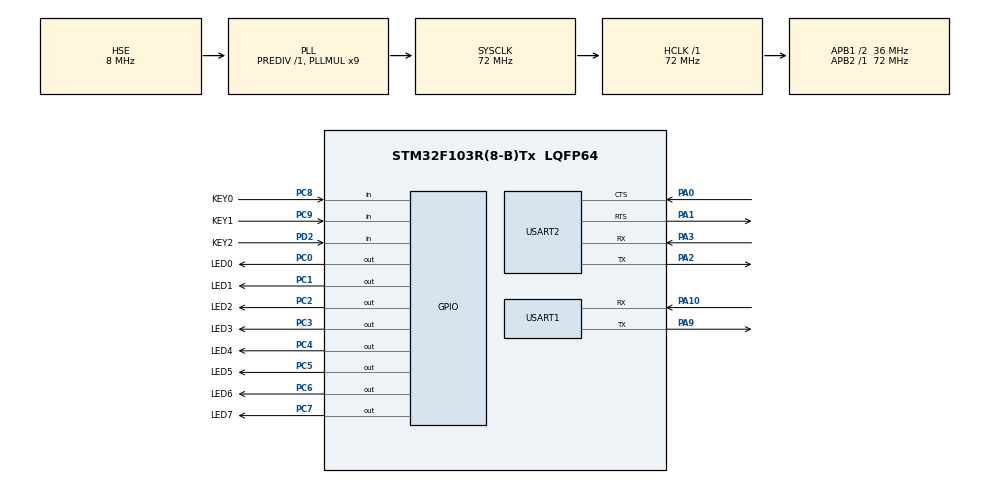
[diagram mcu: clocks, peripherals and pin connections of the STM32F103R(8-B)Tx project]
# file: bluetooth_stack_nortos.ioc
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Dma.Request0=USART2_RX
Dma.Request1=USART2_TX
Dma.USART2_RX.0.Direction=DMA_PERIPH_TO_MEMORY
Dma.USART2_RX.0.Instance=DMA1_Channel6
Dma.USART2_RX.0.MemDataAlignment=DMA_MDATAALIGN_BYTE
Dma.USART2_RX.0.MemInc=DMA_MINC_ENABLE
Dma.USART2_RX.0.Mode=DMA_NORMAL
Dma.USART2_RX.0.PeriphDataAlignment=DMA_PDATAALIGN_BYTE
Dma.USART2_RX.0.PeriphInc=DMA_PINC_DISABLE
Dma.USART2_RX.0.Priority=DMA_PRIORITY_LOW
Dma.USART2_TX.1.Direction=DMA_MEMORY_TO_PERIPH
Dma.USART2_TX.1.Instance=DMA1_Channel7
Dma.USART2_TX.1.MemDataAlignment=DMA_MDATAALIGN_BYTE
Dma.USART2_TX.1.MemInc=DMA_MINC_ENABLE
Dma.USART2_TX.1.Mode=DMA_NORMAL
Dma.USART2_TX.1.PeriphDataAlignment=DMA_PDATAALIGN_BYTE
Dma.USART2_TX.1.PeriphInc=DMA_PINC_DISABLE
Dma.USART2_TX.1.Priority=DMA_PRIORITY_LOW
Mcu.Family=STM32F1
Mcu.Name=STM32F103R(8-B)Tx
Mcu.Package=LQFP64
NVIC.DMA1_Channel6_IRQn=true\:0\:0\:false\:false\:true\:false\:true\:true
NVIC.DMA1_Channel7_IRQn=true\:0\:0\:false\:false\:true\:false\:true\:true
NVIC.PriorityGroup=NVIC_PRIORITYGROUP_4
NVIC.TIM4_IRQn=true\:0\:0\:false\:false\:true\:true\:true\:true
NVIC.USART2_IRQn=true\:0\:0\:false\:false\:true\:false\:true\:true
PA0-WKUP.Mode=CTS_RTS
PA0-WKUP.Signal=USART2_CTS
PA1.Mode=CTS_RTS
PA1.Signal=USART2_RTS
PA10.Mode=Asynchronous
PA10.Signal=USART1_RX
PA13.Mode=Serial_Wire
PA13.Signal=SYS_JTMS-SWDIO
PA14.Mode=Serial_Wire
PA14.Signal=SYS_JTCK-SWCLK
PA2.Mode=Asynchronous
PA2.Signal=USART2_TX
PA3.Mode=Asynchronous
PA3.Signal=USART2_RX
PA9.Mode=Asynchronous
PA9.Signal=USART1_TX
PC0.GPIO_Label=LED0
PC0.GPIO_ModeDefaultOutputPP=GPIO_MODE_OUTPUT_OD
PC0.GPIO_PuPd=GPIO_NOPULL
PC0.GPIO_Speed=GPIO_SPEED_FREQ_LOW
PC0.PinState=GPIO_PIN_SET
PC0.Signal=GPIO_Output
PC1.GPIO_Label=LED1
PC1.GPIO_ModeDefaultOutputPP=GPIO_MODE_OUTPUT_OD
PC1.GPIO_PuPd=GPIO_NOPULL
PC1.GPIO_Speed=GPIO_SPEED_FREQ_LOW
PC1.PinState=GPIO_PIN_SET
PC1.Signal=GPIO_Output
PC14-OSC32_IN.Mode=LSE-External-Oscillator
PC14-OSC32_IN.Signal=RCC_OSC32_IN
PC15-OSC32_OUT.Mode=LSE-External-Oscillator
PC15-OSC32_OUT.Signal=RCC_OSC32_OUT
PC2.GPIO_Label=LED2
PC2.GPIO_ModeDefaultOutputPP=GPIO_MODE_OUTPUT_OD
PC2.GPIO_PuPd=GPIO_NOPULL
PC2.GPIO_Speed=GPIO_SPEED_FREQ_LOW
PC2.PinState=GPIO_PIN_SET
PC2.Signal=GPIO_Output
PC3.GPIO_Label=LED3
PC3.GPIO_ModeDefaultOutputPP=GPIO_MODE_OUTPUT_OD
PC3.GPIO_PuPd=GPIO_NOPULL
PC3.GPIO_Speed=GPIO_SPEED_FREQ_LOW
PC3.PinState=GPIO_PIN_SET
PC3.Signal=GPIO_Output
PC4.GPIO_Label=LED4
PC4.GPIO_ModeDefaultOutputPP=GPIO_MODE_OUTPUT_OD
PC4.GPIO_PuPd=GPIO_NOPULL
PC4.GPIO_Speed=GPIO_SPEED_FREQ_LOW
PC4.PinState=GPIO_PIN_SET
PC4.Signal=GPIO_Output
PC5.GPIO_Label=LED5
PC5.GPIO_ModeDefaultOutputPP=GPIO_MODE_OUTPUT_OD
PC5.GPIO_PuPd=GPIO_NOPULL
PC5.GPIO_Speed=GPIO_SPEED_FREQ_LOW
PC5.PinState=GPIO_PIN_SET
PC5.Signal=GPIO_Output
PC6.GPIO_Label=LED6
PC6.GPIO_ModeDefaultOutputPP=GPIO_MODE_OUTPUT_OD
PC6.GPIO_PuPd=GPIO_NOPULL
PC6.GPIO_Speed=GPIO_SPEED_FREQ_LOW
PC6.PinState=GPIO_PIN_SET
PC6.Signal=GPIO_Output
PC7.GPIO_Label=LED7
PC7.GPIO_ModeDefaultOutputPP=GPIO_MODE_OUTPUT_OD
PC7.GPIO_PuPd=GPIO_NOPULL
PC7.GPIO_Speed=GPIO_SPEED_FREQ_LOW
PC7.PinState=GPIO_PIN_SET
PC7.Signal=GPIO_Output
PC8.GPIO_Label=KEY0
PC8.GPIO_Mode=GPIO_MODE_INPUT
PC8.GPIO_PuPd=GPIO_PULLUP
PC8.Signal=GPIO_Input
PC9.GPIO_Label=KEY1
PC9.GPIO_Mode=GPIO_MODE_INPUT
PC9.GPIO_PuPd=GPIO_PULLUP
PC9.Signal=GPIO_Input
PD0-OSC_IN.Mode=HSE-External-Oscillator
PD0-OSC_IN.Signal=RCC_OSC_IN
PD1-OSC_OUT.Mode=HSE-External-Oscillator
PD1-OSC_OUT.Signal=RCC_OSC_OUT
PD2.GPIO_Label=KEY2
PD2.GPIO_Mode=GPIO_MODE_INPUT
PD2.GPIO_PuPd=GPIO_PULLUP
PD2.Signal=GPIO_Input
ProjectManager.HeapSize=0x200
ProjectManager.StackSize=0x400
ProjectManager.TargetToolchain=MDK-ARM V5.32
RCC.AHBFreq_Value=72000000
RCC.APB1CLKDivider=RCC_HCLK_DIV2
RCC.APB1Freq_Value=36000000
RCC.APB1TimFreq_Value=72000000
RCC.APB2Freq_Value=72000000
RCC.APB2TimFreq_Value=72000000
RCC.EnbaleCSS=true
RCC.HCLKFreq_Value=72000000
RCC.PLLMUL=RCC_PLL_MUL9
RCC.PLLSourceVirtual=RCC_PLLSOURCE_HSE
RCC.RTCClockSelection=RCC_RTCCLKSOURCE_LSE
RCC.SYSCLKFreq_VALUE=72000000
RCC.SYSCLKSource=RCC_SYSCLKSOURCE_PLLCLK
RCC.USBFreq_Value=48000000
RCC.USBPrescaler=RCC_USBCLKSOURCE_PLL_DIV1_5
TIM4.AutoReloadPreload=TIM_AUTORELOAD_PRELOAD_ENABLE
TIM4.Period=1000-1
TIM4.Prescaler=72-1
USART1.VirtualMode=VM_ASYNC
USART2.VirtualMode=VM_ASYNC
VP_TIM4_VS_ClockSourceINT.Mode=Internal
board=custom

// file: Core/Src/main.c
/* USER CODE BEGIN Header */
/**
 ******************************************************************************
 * @file           : main.c
 * @brief          : Main program body
 ******************************************************************************
 * @attention
 *
 * Copyright (c) 2026 STMicroelectronics.
 * All rights reserved.
 *
 * This software is licensed under terms that can be found in the LICENSE file
 * in the root directory of this software component.
 * If no LICENSE file comes with this software, it is provided AS-IS.
 *
 ******************************************************************************
 */
/* USER CODE END Header */
#include "main.h"
#include "dma.h"
#include "tim.h"
#include "usart.h"
#include "gpio.h"

/* USER CODE BEGIN Includes */
#include "phy_h4.h"
//#include "bt_uart.h"
#include "tiny_timer.h"
#include "gatt.h"
#include "Server.h"
#include "hci.h"
/* USER CODE END Includes */

/* USER CODE BEGIN PM */
uint8_t USART2_RX_BUF[1024]; // 接收缓冲区
/* USER CODE END PM */

void SystemClock_Config(void);

/* USER CODE BEGIN 0 */
void timer_led(void *arg);
void timer_led_create(void)
{
  timer_create_cycle(500, timer_led, NULL);
}

void timer_led(void *arg)
{
  HAL_GPIO_TogglePin(LED0_GPIO_Port, LED0_Pin);
}
/* USER CODE END 0 */

int main(void)
{

  /* MCU Configuration--------------------------------------------------------*/

  /* Reset of all peripherals, Initializes the Flash interface and the Systick. */
  HAL_Init();

  /* Configure the system clock */
  SystemClock_Config();

  /* Initialize all configured peripherals */
  MX_GPIO_Init();
  MX_DMA_Init();
  MX_TIM4_Init();
  MX_USART2_UART_Init();
  MX_USART1_UART_Init();
  /* USER CODE BEGIN 2 */
  HAL_TIM_Base_Start_IT(&htim4);
  timer_init();
  timer_led_create();
  uart_bt_init();
  gatt_server_init();
  Services_init();
  HAL_UART_Receive_DMA(&huart2, USART2_RX_BUF, 1024); // 打开DMA接收，数据存入rx_buffer数组中。
  __HAL_UART_ENABLE_IT(&huart2, UART_IT_IDLE);        // 开启空闲中断

  bt_hci_reset();
  /* USER CODE END 2 */

  /* Infinite loop */
  /* USER CODE BEGIN WHILE */
  while (1)
  {
    phybusif_input();
    timer_running();
    /* USER CODE END WHILE */

  }
}

void SystemClock_Config(void)
{
  RCC_OscInitTypeDef RCC_OscInitStruct = {0};
  RCC_ClkInitTypeDef RCC_ClkInitStruct = {0};

  /** Initializes the RCC Oscillators according to the specified parameters
   * in the RCC_OscInitTypeDef structure.
   */
  RCC_OscInitStruct.OscillatorType = RCC_OSCILLATORTYPE_HSE;
  RCC_OscInitStruct.HSEState = RCC_HSE_ON;
  RCC_OscInitStruct.HSEPredivValue = RCC_HSE_PREDIV_DIV1;
  RCC_OscInitStruct.HSIState = RCC_HSI_ON;
  RCC_OscInitStruct.PLL.PLLState = RCC_PLL_ON;
  RCC_OscInitStruct.PLL.PLLSource = RCC_PLLSOURCE_HSE;
  RCC_OscInitStruct.PLL.PLLMUL = RCC_PLL_MUL9;
  if (HAL_RCC_OscConfig(&RCC_OscInitStruct) != HAL_OK)
  {
    Error_Handler();
  }

  /** Initializes the CPU, AHB and APB buses clocks
   */
  RCC_ClkInitStruct.ClockType = RCC_CLOCKTYPE_HCLK | RCC_CLOCKTYPE_SYSCLK | RCC_CLOCKTYPE_PCLK1 | RCC_CLOCKTYPE_PCLK2;
  RCC_ClkInitStruct.SYSCLKSource = RCC_SYSCLKSOURCE_PLLCLK;
  RCC_ClkInitStruct.AHBCLKDivider = RCC_SYSCLK_DIV1;
  RCC_ClkInitStruct.APB1CLKDivider = RCC_HCLK_DIV2;
  RCC_ClkInitStruct.APB2CLKDivider = RCC_HCLK_DIV1;

  if (HAL_RCC_ClockConfig(&RCC_ClkInitStruct, FLASH_LATENCY_2) != HAL_OK)
  {
    Error_Handler();
  }

  /** Enables the Clock Security System
   */
  HAL_RCC_EnableCSS();
}

/* USER CODE BEGIN 4 */
void HAL_TIM_PeriodElapsedCallback(TIM_HandleTypeDef *htim)
{
  /* 判断是哪个定时器触发的中断 */
  if (htim->Instance == TIM4)
  {
    timer_tick();
  }
  /* 如果有多个定时器，可以继续 else if (htim->Instance == TIMx) ... */
}
/* USER CODE END 4 */

void Error_Handler(void)
{
  __disable_irq();
  while (1)
  {
  }
}
